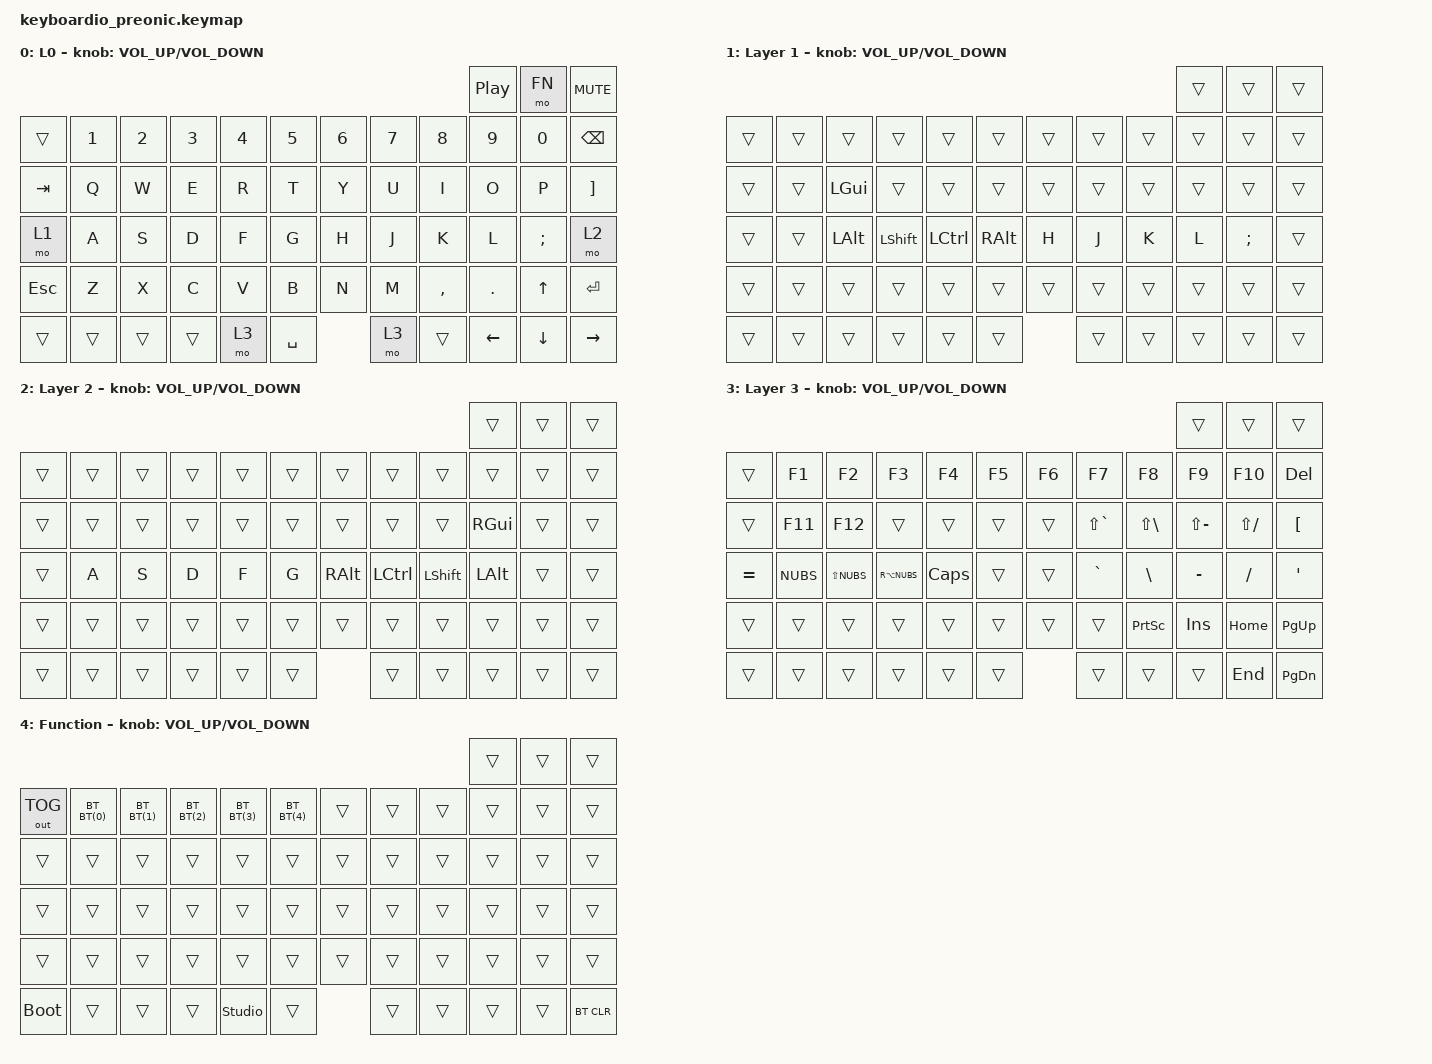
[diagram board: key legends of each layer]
/*
 * Copyright (c) 2022 Pete Johanson
 *
 * SPDX-License-Identifier: MIT
 */

#include <behaviors.dtsi>
#include <dt-bindings/zmk/keys.h>
#include <dt-bindings/zmk/bt.h>
#include <dt-bindings/zmk/outputs.h>

#define L1 1
#define L2 2
#define L3 3
#define FN 4

// Using layer taps on thumbs, having quick tap as well helps w/ repeating space/backspace
&lt { quick_tap_ms = <200>; };

// Convenience macro to make the Bluetooth commands shorter
#define BT(n) BT_SEL n

// Hyper key: all the modifiers
#define HYPER LC(LS(LA(LGUI)))

/ {
    chosen {
        // Valid choices: [ &mit_layout, &ortho_layout ]
        zmk,physical-layout = &mit_layout;
    };

    keymap {
        compatible = "zmk,keymap";

        // Default Base layer:
        //                                                                                                             &kp C_PP    &mo FN      &kp C_MUTE
        //
        // &kp GRAVE   &kp N1      &kp N2      &kp N3      &kp N4      &kp N5      &kp N6      &kp N7      &kp N8      &kp N9      &kp N0      &kp MINUS
        // &kp TAB     &kp Q       &kp W       &kp E       &kp R       &kp T       &kp Y       &kp U       &kp I       &kp O       &kp P       &kp BKSP
        // &kp ESC     &kp A       &kp S       &kp D       &kp F       &kp G       &kp H       &kp J       &kp K       &kp L       &kp SEMI    &kp SQT
        // &kp LSHFT   &kp Z       &kp X       &kp C       &kp V       &kp B       &kp N       &kp M       &kp COMMA   &kp PERIOD  &kp SLASH   &kp ENTER
        // &kp HYPER   &kp LCTRL   &kp LALT    &kp LGUI    &mo LOWER         &kp SPACE         &mo RAISE   &kp LEFT    &kp DOWN    &kp UP      &kp RIGHT

        l0_layer {
            label = "L0";
            bindings = <
                                                                                                             &kp C_PP    &mo FN      &kp C_MUTE

 &trans      &kp N1      &kp N2      &kp N3      &kp N4      &kp N5      &kp N6      &kp N7      &kp N8      &kp N9      &kp N0      &kp BKSP
 &kp TAB     &kp Q       &kp W       &kp E       &kp R       &kp T       &kp Y       &kp U       &kp I       &kp O       &kp P       &kp RBKT
 &mo L1      &kp A       &kp S       &kp D       &kp F       &kp G       &kp H       &kp J       &kp K       &kp L       &kp SEMI    &mo L2
 &kp ESC     &kp Z       &kp X       &kp C       &kp V       &kp B       &kp N       &kp M       &kp COMMA   &kp PERIOD  &kp UP      &kp ENTER
 &trans      &trans      &trans      &trans      &mo L3            &kp SPACE         &mo L3      &trans      &kp LEFT    &kp DOWN    &kp RIGHT

            >;
            sensor-bindings = <&inc_dec_kp C_VOLUME_UP C_VOLUME_DOWN>;
        };

        l1_layer {
            label = "Layer 1";
            bindings = <
                                                                                                               &trans          &trans       &trans

 &trans      &trans      &trans      &trans      &trans      &trans      &trans      &trans      &trans        &trans          &trans       &trans
 &trans      &trans      &kp LGUI    &trans      &trans      &trans      &trans      &trans      &trans        &trans          &trans       &trans
 &trans      &trans      &kp LALT    &kp LSHIFT  &kp LCTRL   &kp RALT    &kp H       &kp J       &kp K         &kp L           &kp SEMI     &trans
 &trans      &trans      &trans      &trans      &trans      &trans      &trans      &trans      &trans        &trans          &trans       &trans
 &trans      &trans      &trans      &trans      &trans            &trans            &trans      &trans        &trans          &trans       &trans

            >;
            sensor-bindings = <&inc_dec_kp C_VOLUME_UP C_VOLUME_DOWN>;
        };

        l2_layer {
            label = "Layer 2";
            bindings = <
                                                                                                               &trans          &trans       &trans

 &trans      &trans      &trans      &trans      &trans      &trans      &trans      &trans      &trans        &trans          &trans       &trans
 &trans      &trans      &trans      &trans      &trans      &trans      &trans      &trans      &trans        &kp RGUI        &trans       &trans
 &trans      &kp A       &kp S       &kp D       &kp F       &kp G       &kp RALT    &kp LCTRL   &kp LSHIFT    &kp LALT        &trans       &trans
 &trans      &trans      &trans      &trans      &trans      &trans      &trans      &trans      &trans        &trans          &trans       &trans
 &trans      &trans      &trans      &trans      &trans            &trans            &trans      &trans        &trans          &trans       &trans

            >;
            sensor-bindings = <&inc_dec_kp C_VOLUME_UP C_VOLUME_DOWN>;
        };

        l3_layer {
            label = "Layer 3";
            bindings = <
                                                                                                                          &trans          &trans           &trans

 &trans      &kp F1        &kp F2         &kp F3            &kp F4      &kp F5      &kp F6      &kp F7          &kp F8         &kp F9          &kp F10          &kp DEL
 &trans      &kp F11       &kp F12        &trans            &trans      &trans      &trans      &kp LS(GRAVE)   &kp LS(BSLH)   &kp LS(MINUS)   &kp LS(SLASH)    &kp LEFT_BRACKET
 &kp EQUAL   &kp NUBS      &kp LS(NUBS)   &kp RA(NUBS)      &kp CAPS    &trans      &trans      &kp GRAVE       &kp BSLH       &kp MINUS       &kp SLASH        &kp SQT
 &trans      &trans        &trans         &trans            &trans      &trans      &trans      &trans          &kp PSCRN      &kp INS         &kp HOME         &kp PG_UP
 &trans      &trans        &trans         &trans            &trans            &trans            &trans          &trans         &trans          &kp END          &kp PG_DN

            >;
            sensor-bindings = <&inc_dec_kp C_VOLUME_UP C_VOLUME_DOWN>;
        };

        func_layer {
            label = "Function";
            bindings = <
                                                                                                             &trans      &trans      &trans

 &out OUT_TOG &bt BT(0)   &bt BT(1)   &bt BT(2)   &bt BT(3)   &bt BT(4)   &trans      &trans      &trans     &trans      &trans      &trans
 &trans       &trans      &trans      &trans      &trans      &trans      &trans      &trans      &trans     &trans      &trans      &trans
 &trans       &trans      &trans      &trans      &trans      &trans      &trans      &trans      &trans     &trans      &trans      &trans
 &trans       &trans      &trans      &trans      &trans      &trans      &trans      &trans      &trans     &trans      &trans      &trans
 &bootloader  &trans      &trans      &trans      &studio_unlock    &trans            &trans      &trans     &trans      &trans      &bt BT_CLR

            >;
            sensor-bindings = <&inc_dec_kp C_VOLUME_UP C_VOLUME_DOWN>;
        };
    };
};
